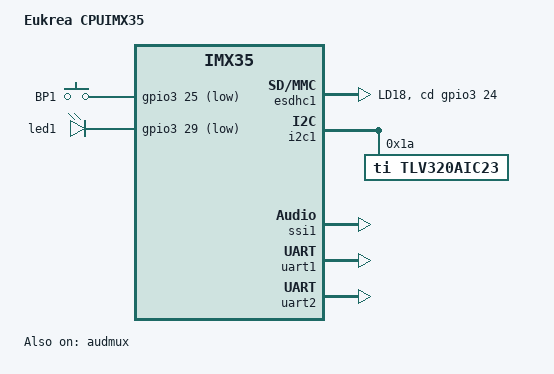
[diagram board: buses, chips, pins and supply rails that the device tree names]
/*
 * Copyright 2013 Eukréa Electromatique <denis@eukrea.com>
 *
 * This program is free software; you can redistribute it and/or
 * modify it under the terms of the GNU General Public License
 * as published by the Free Software Foundation; either version 2
 * of the License, or (at your option) any later version.
 * This program is distributed in the hope that it will be useful,
 * but WITHOUT ANY WARRANTY; without even the implied warranty of
 * MERCHANTABILITY or FITNESS FOR A PARTICULAR PURPOSE.  See the
 * GNU General Public License for more details.
 */

/dts-v1/;

#include <dt-bindings/gpio/gpio.h>
#include <dt-bindings/input/input.h>
#include "imx35-eukrea-cpuimx35.dtsi"

/ {
	model = "Eukrea CPUIMX35";
	compatible = "eukrea,mbimxsd35-baseboard", "eukrea,cpuimx35", "fsl,imx35";

	gpio_keys {
		compatible = "gpio-keys";
		pinctrl-names = "default";
		pinctrl-0 = <&pinctrl_bp1>;

		bp1 {
			label = "BP1";
			gpios = <&gpio3 25 GPIO_ACTIVE_LOW>;
			linux,code = <BTN_MISC>;
			gpio-key,wakeup;
			linux,input-type = <1>;
		};
	};

	leds {
		compatible = "gpio-leds";
		pinctrl-names = "default";
		pinctrl-0 = <&pinctrl_led1>;

		led1 {
			label = "led1";
			gpios = <&gpio3 29 GPIO_ACTIVE_LOW>;
			linux,default-trigger = "heartbeat";
		};
	};
};

&audmux {
	pinctrl-names = "default";
	pinctrl-0 = <&pinctrl_audmux>;
	status = "okay";
};

&esdhc1 {
	pinctrl-names = "default";
	pinctrl-0 = <&pinctrl_esdhc1>;
	cd-gpios = <&gpio3 24>;
	status = "okay";
};

&i2c1 {
	tlv320aic23: codec@1a {
		compatible = "ti,tlv320aic23";
		reg = <0x1a>;
	};
};

&iomuxc {
	imx35-eukrea {
		pinctrl_audmux: audmuxgrp {
			fsl,pins = <MX35_AUDMUX_PINGRP1>;
		};

		pinctrl_bp1: bp1grp {
			fsl,pins = <MX35_PAD_LD19__GPIO3_25  0x80000000>;
		};

		pinctrl_esdhc1: esdhc1grp {
			fsl,pins = <
				  MX35_ESDHC1_PINGRP1
				  MX35_PAD_LD18__GPIO3_24  0x80000000 /* CD */
			>;
		};

		pinctrl_fec: fecgrp {
			fsl,pins = <MX35_FEC_PINGRP1>;
		};

		pinctrl_i2c1: i2c1grp {
			fsl,pins = <MX35_I2C1_PINGRP1>;
		};

		pinctrl_led1: led1grp {
			fsl,pins = <MX35_PAD_LD23__GPIO3_29  0x80000000>;
		};

		pinctrl_reg_lcd_3v3: reg-lcd-3v3 {
			fsl,pins = <MX35_PAD_D3_CLS__GPIO1_4 0x80000000>;
		};

		pinctrl_uart1: uart1grp {
			fsl,pins = <
				MX35_UART1_PINGRP1
				MX35_UART1_RTSCTS_PINGRP1
			>;
		};

		pinctrl_uart2: uart2grp {
			fsl,pins = <
				MX35_UART2_PINGRP1
				MX35_UART2_RTSCTS_PINGRP1
			>;
		};
	};
};

&ssi1 {
	fsl,mode = "i2s-slave";
	status = "okay";
};

&uart1 {
	pinctrl-names = "default";
	pinctrl-0 = <&pinctrl_uart1>;
	fsl,uart-has-rtscts;
	status = "okay";
};

&uart2 {
	pinctrl-names = "default";
	pinctrl-0 = <&pinctrl_uart2>;
	fsl,uart-has-rtscts;
	status = "okay";
};
